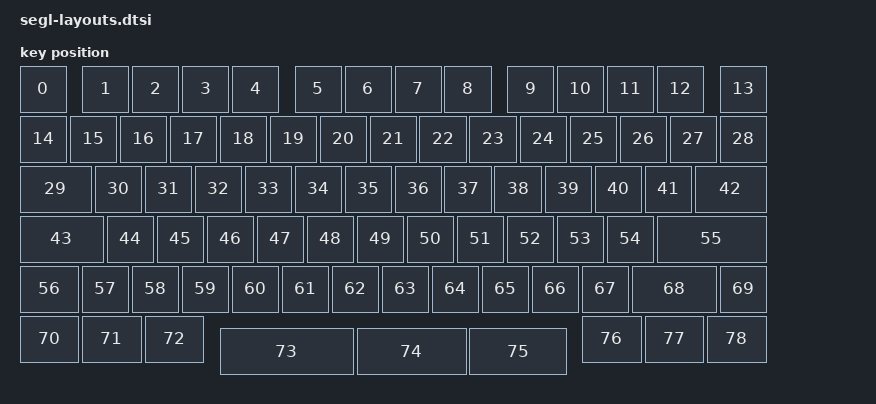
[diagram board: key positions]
/*
 * SPDX-License-Identifier: MIT
 */

#include <physical_layouts.dtsi>

/ {
    physical_layout0: physical_layout_0 {
        compatible = "zmk,physical-layout";
        display-name = "Default";
        kscan = <&kscan0>;
        transform = <&default_transform>;
        keys
            = <&key_physical_attrs 100 100    0    0    0    0    0>
            , <&key_physical_attrs 100 100  125    0    0    0    0>
            , <&key_physical_attrs 100 100  225    0    0    0    0>
            , <&key_physical_attrs 100 100  325    0    0    0    0>
            , <&key_physical_attrs 100 100  425    0    0    0    0>
            , <&key_physical_attrs 100 100  550    0    0    0    0>
            , <&key_physical_attrs 100 100  650    0    0    0    0>
            , <&key_physical_attrs 100 100  750    0    0    0    0>
            , <&key_physical_attrs 100 100  850    0    0    0    0>
            , <&key_physical_attrs 100 100  975    0    0    0    0>
            , <&key_physical_attrs 100 100 1075    0    0    0    0>
            , <&key_physical_attrs 100 100 1175    0    0    0    0>
            , <&key_physical_attrs 100 100 1275    0    0    0    0>
            , <&key_physical_attrs 100 100 1400    0    0    0    0>
            , <&key_physical_attrs 100 100    0  100    0    0    0>
            , <&key_physical_attrs 100 100  100  100    0    0    0>
            , <&key_physical_attrs 100 100  200  100    0    0    0>
            , <&key_physical_attrs 100 100  300  100    0    0    0>
            , <&key_physical_attrs 100 100  400  100    0    0    0>
            , <&key_physical_attrs 100 100  500  100    0    0    0>
            , <&key_physical_attrs 100 100  600  100    0    0    0>
            , <&key_physical_attrs 100 100  700  100    0    0    0>
            , <&key_physical_attrs 100 100  800  100    0    0    0>
            , <&key_physical_attrs 100 100  900  100    0    0    0>
            , <&key_physical_attrs 100 100 1000  100    0    0    0>
            , <&key_physical_attrs 100 100 1100  100    0    0    0>
            , <&key_physical_attrs 100 100 1200  100    0    0    0>
            , <&key_physical_attrs 100 100 1300  100    0    0    0>
            , <&key_physical_attrs 100 100 1400  100    0    0    0>
            , <&key_physical_attrs 150 100    0  200    0    0    0>
            , <&key_physical_attrs 100 100  150  200    0    0    0>
            , <&key_physical_attrs 100 100  250  200    0    0    0>
            , <&key_physical_attrs 100 100  350  200    0    0    0>
            , <&key_physical_attrs 100 100  450  200    0    0    0>
            , <&key_physical_attrs 100 100  550  200    0    0    0>
            , <&key_physical_attrs 100 100  650  200    0    0    0>
            , <&key_physical_attrs 100 100  750  200    0    0    0>
            , <&key_physical_attrs 100 100  850  200    0    0    0>
            , <&key_physical_attrs 100 100  950  200    0    0    0>
            , <&key_physical_attrs 100 100 1050  200    0    0    0>
            , <&key_physical_attrs 100 100 1150  200    0    0    0>
            , <&key_physical_attrs 100 100 1250  200    0    0    0>
            , <&key_physical_attrs 150 100 1350  200    0    0    0>
            , <&key_physical_attrs 175 100    0  300    0    0    0>
            , <&key_physical_attrs 100 100  175  300    0    0    0>
            , <&key_physical_attrs 100 100  275  300    0    0    0>
            , <&key_physical_attrs 100 100  375  300    0    0    0>
            , <&key_physical_attrs 100 100  475  300    0    0    0>
            , <&key_physical_attrs 100 100  575  300    0    0    0>
            , <&key_physical_attrs 100 100  675  300    0    0    0>
            , <&key_physical_attrs 100 100  775  300    0    0    0>
            , <&key_physical_attrs 100 100  875  300    0    0    0>
            , <&key_physical_attrs 100 100  975  300    0    0    0>
            , <&key_physical_attrs 100 100 1075  300    0    0    0>
            , <&key_physical_attrs 100 100 1175  300    0    0    0>
            , <&key_physical_attrs 225 100 1275  300    0    0    0>
            , <&key_physical_attrs 125 100    0  400    0    0    0>
            , <&key_physical_attrs 100 100  125  400    0    0    0>
            , <&key_physical_attrs 100 100  225  400    0    0    0>
            , <&key_physical_attrs 100 100  325  400    0    0    0>
            , <&key_physical_attrs 100 100  425  400    0    0    0>
            , <&key_physical_attrs 100 100  525  400    0    0    0>
            , <&key_physical_attrs 100 100  625  400    0    0    0>
            , <&key_physical_attrs 100 100  725  400    0    0    0>
            , <&key_physical_attrs 100 100  825  400    0    0    0>
            , <&key_physical_attrs 100 100  925  400    0    0    0>
            , <&key_physical_attrs 100 100 1025  400    0    0    0>
            , <&key_physical_attrs 100 100 1125  400    0    0    0>
            , <&key_physical_attrs 175 100 1225  400    0    0    0>
            , <&key_physical_attrs 100 100 1400  400    0    0    0>
            , <&key_physical_attrs 125 100    0  500    0    0    0>
            , <&key_physical_attrs 125 100  125  500    0    0    0>
            , <&key_physical_attrs 125 100  250  500    0    0    0>
            , <&key_physical_attrs 275 100  400  525    0    0    0>
            , <&key_physical_attrs 225 100  675  525    0    0    0>
            , <&key_physical_attrs 200 100  900  525    0    0    0>
            , <&key_physical_attrs 125 100 1125  500    0    0    0>
            , <&key_physical_attrs 125 100 1250  500    0    0    0>
            , <&key_physical_attrs 125 100 1375  500    0    0    0>
            ;
    };
};
